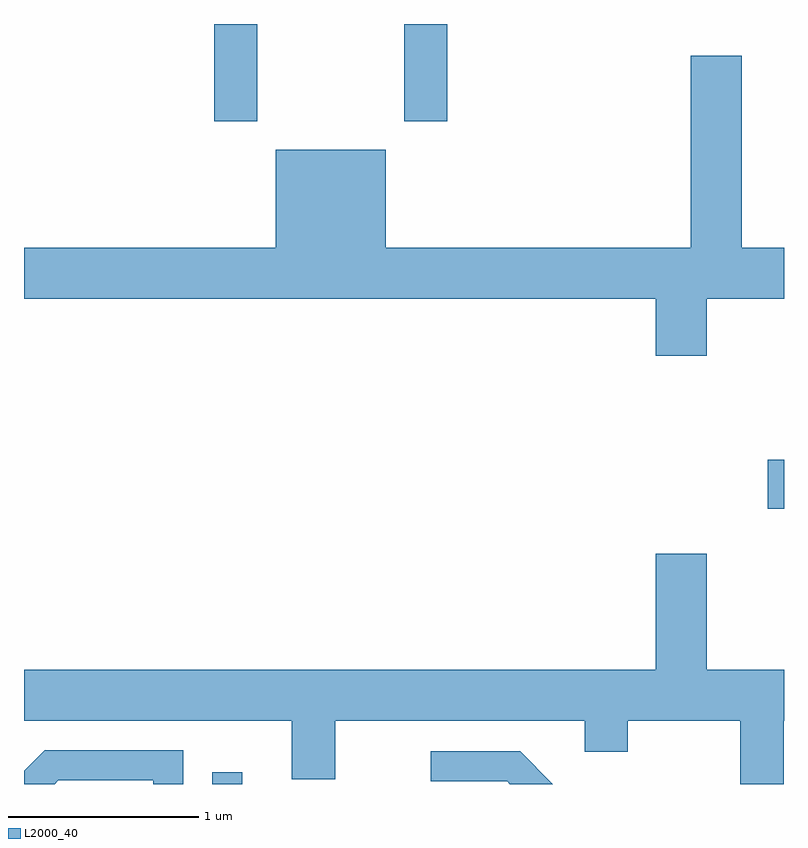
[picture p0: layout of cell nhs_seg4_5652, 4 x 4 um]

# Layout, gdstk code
import gdstk
lib = gdstk.Library(unit=1e-6, precision=1e-09)
def R(c, l, rs):  # rectangles x0, y0, x1, y1
    for r in rs: c.add(gdstk.rectangle(r[:2], r[2:], *l))
def P(c, l, *ps):  # polygons
    for p in ps: c.add(gdstk.Polygon(p, *l))
L2000_40 = (2000, 40)

nhs_seg4_5652 = lib.new_cell('nhs_seg4_5652')
R(nhs_seg4_5652, L2000_40, [(352.601,1269.982,352.759,1270.043), (355.526,1271.431,355.611,1271.689), (352.611,1273.471,352.839,1273.982), (353.611,1273.471,353.839,1273.982)])
P(nhs_seg4_5652, L2000_40, [(355.204,1272.536),(355.611,1272.536),(355.611,1272.804),(355.389,1272.804),(355.389,1273.814),(355.121,1273.814),(355.121,1272.804),(353.514,1272.804),(353.514,1273.319),(352.936,1273.319),(352.936,1272.804),(351.611,1272.804),(351.611,1272.536),(354.936,1272.536),(354.936,1272.236),(355.204,1272.236)],
  [(355.609,1270.316),(355.611,1270.316),(355.611,1270.584),(355.204,1270.584),(355.204,1271.194),(354.936,1271.194),(354.936,1270.584),(351.611,1270.584),(351.611,1270.316),(353.021,1270.316),(353.021,1270.006),(353.249,1270.006),(353.249,1270.316),(354.561,1270.316),(354.561,1270.151),(354.789,1270.151),(354.789,1270.316),(355.381,1270.316),(355.381,1269.982),(355.609,1269.982)],
  [(351.792,1270.001),(352.291,1270.001),(352.291,1269.982),(352.449,1269.982),(352.449,1270.159),(351.719,1270.159),(351.611,1270.051),(351.611,1269.982),(351.773,1269.982)],
  [(354.222,1270.154),(353.753,1270.154),(353.753,1269.996),(354.154,1269.996),(354.168,1269.982),(354.394,1269.982)])

lib.write_gds('nhs_seg4_5652.gds')
